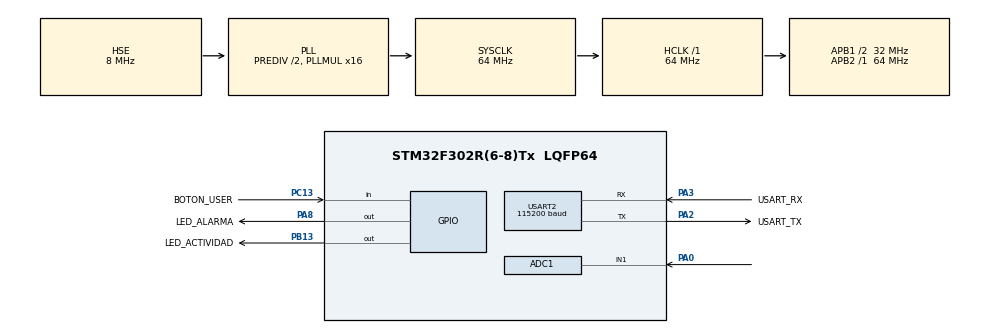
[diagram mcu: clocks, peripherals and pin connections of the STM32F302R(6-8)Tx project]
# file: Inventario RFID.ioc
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ADC1.Channel-1\#ChannelRegularConversion=ADC_CHANNEL_1
ADC1.EnableInjectedConversion=DISABLE
ADC1.NbrOfConversionFlag=1
ADC1.Offset-1\#ChannelRegularConversion=0
ADC1.OffsetNumber-1\#ChannelRegularConversion=ADC_OFFSET_NONE
ADC1.Rank-1\#ChannelRegularConversion=1
ADC1.SamplingTime-1\#ChannelRegularConversion=ADC_SAMPLETIME_61CYCLES_5
ADC1.SamplingTimeOPAMP-1\#ChannelRegularConversion=ADC_SAMPLETIME_61CYCLES_5
ADC1.master=1
Mcu.Family=STM32F3
Mcu.Name=STM32F302R(6-8)Tx
Mcu.Package=LQFP64
NVIC.PriorityGroup=NVIC_PRIORITYGROUP_0
NVIC.TIM6_DAC_IRQn=true\:0\:0\:false\:false\:true\:true\:true\:true
PA0.Mode=IN1-Single-Ended
PA0.Signal=ADC1_IN1
PA13.GPIO_Label=TMS
PA13.Mode=Serial_Wire
PA13.Signal=SYS_JTMS-SWDIO
PA14.GPIO_Label=TCK
PA14.Mode=Serial_Wire
PA14.Signal=SYS_JTCK-SWCLK
PA2.GPIO_Label=USART_TX
PA2.GPIO_Mode=GPIO_MODE_AF_PP
PA2.GPIO_PuPd=GPIO_NOPULL
PA2.GPIO_Speed=GPIO_SPEED_FREQ_LOW
PA2.Mode=Asynchronous
PA2.Signal=USART2_TX
PA3.GPIO_Label=USART_RX
PA3.GPIO_Mode=GPIO_MODE_AF_PP
PA3.GPIO_PuPd=GPIO_NOPULL
PA3.GPIO_Speed=GPIO_SPEED_FREQ_LOW
PA3.Mode=Asynchronous
PA3.Signal=USART2_RX
PA8.GPIO_Label=LED_ALARMA
PA8.Signal=GPIO_Output
PB13.GPIO_Label=LED_ACTIVIDAD
PB13.Signal=GPIO_Output
PB3.GPIO_Label=SWO
PB3.Mode=Trace_Asynchronous_SW
PB3.Signal=SYS_JTDO-TRACESWO
PB8.Signal=I2C1_SCL
PB9.Signal=I2C1_SDA
PC13.GPIO_Label=BOTON_USER
PC13.Signal=GPIO_Input
PC14\ -\ OSC32_IN.Mode=LSE-External-Oscillator
PC14\ -\ OSC32_IN.Signal=RCC_OSC32_IN
PC15\ -\ OSC32_OUT.Mode=LSE-External-Oscillator
PC15\ -\ OSC32_OUT.Signal=RCC_OSC32_OUT
PF0-OSC_IN.Mode=HSE-External-Clock-Source
PF0-OSC_IN.Signal=RCC_OSC_IN
PF1-OSC_OUT.Signal=RCC_OSC_OUT
ProjectManager.HeapSize=0x200
ProjectManager.StackSize=0x400
ProjectManager.TargetToolchain=STM32CubeIDE
RCC.AHBFreq_Value=64000000
RCC.APB1CLKDivider=RCC_HCLK_DIV2
RCC.APB1Freq_Value=32000000
RCC.APB1TimFreq_Value=64000000
RCC.APB2Freq_Value=64000000
RCC.APB2TimFreq_Value=64000000
RCC.CortexFreq_Value=64000000
RCC.HCLKFreq_Value=64000000
RCC.HSE_VALUE=8000000
RCC.HSI_VALUE=8000000
RCC.PLLM=8
RCC.PLLMUL=RCC_PLL_MUL16
RCC.PLLN=336
RCC.PLLP=RCC_PLLP_DIV4
RCC.PLLQ=7
RCC.RCC_PLLsource_Clock_Source_FROM_HSE=RCC_HSE_PREDIV_DIV2
RCC.SYSCLKFreq_VALUE=64000000
RCC.SYSCLKSourceVirtual=RCC_SYSCLKSOURCE_PLLCLK
RCC.USBFreq_Value=64000000
TIM6.Period=999
TIM6.Prescaler=63
USART2.BaudRate=115200
USART2.VirtualMode-Asynchronous=VM_ASYNC
VP_TIM6_VS_ClockSourceINT.Mode=Enable_Timer
board=NUCLEO-F302R8

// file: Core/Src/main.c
/* USER CODE BEGIN Header */
// Monitor analogico con alarma - Etapa 4: comandos UART
// NUCLEO-F302R8, reloj del sistema a 64 MHz
/* USER CODE END Header */

#include "main.h"
#include <stdio.h>
#include <string.h>

/* Private variables */
ADC_HandleTypeDef hadc1;
TIM_HandleTypeDef htim6;
UART_HandleTypeDef huart2;

/* USER CODE BEGIN PV */
volatile uint32_t tiempo_ms = 0;

uint16_t adc_bruto = 0;
uint8_t porcentaje = 0;
uint8_t muestra_valida = 0;
uint8_t adc_en_curso = 0;

uint8_t modo_run = 1;
uint8_t umbral = 70;
uint8_t alarma = 0;

uint8_t boton_raw = 1;
uint8_t boton_estable = 1;
uint32_t boton_cambio_ms = 0;

#define RX_MAX 32U
#define TX_MAX 112U
#define TX_COLA 8U

char rx_linea[RX_MAX + 1U];
uint8_t rx_len = 0;
uint8_t rx_descartar = 0;
uint8_t rx_cr = 0;

char tx_cola[TX_COLA][TX_MAX];
uint8_t tx_largo[TX_COLA] = {0};
uint8_t tx_entrada = 0;
uint8_t tx_salida = 0;
uint8_t tx_cantidad = 0;
uint8_t tx_pos = 0;
/* USER CODE END PV */

/* Private function prototypes */
void SystemClock_Config(void);
static void MX_GPIO_Init(void);
static void MX_ADC1_Init(void);
static void MX_TIM6_Init(void);
static void MX_USART2_UART_Init(void);
static void ActualizarSalidaAlarma(void);
static void EvaluarHisteresis(void);
static void ReiniciarDecisionAlarma(void);
static void EncolarTexto(const char *texto);
static void EncolarEstado(uint32_t ahora);
static void ProcesarComando(const char *linea);
static void RecibirCaracter(uint8_t caracter);
static void AtenderUART(void);

int main(void)
{
  HAL_Init();
  SystemClock_Config();

  MX_GPIO_Init();
  MX_ADC1_Init();
  MX_TIM6_Init();
  MX_USART2_UART_Init();

  /* USER CODE BEGIN 2 */
  // Los dos indicadores comienzan apagados.
  HAL_GPIO_WritePin(GPIOB, GPIO_PIN_13, GPIO_PIN_RESET);
  HAL_GPIO_WritePin(GPIOA, GPIO_PIN_8, GPIO_PIN_RESET);

  // Calibracion inicial del ADC para mejorar las mediciones.
  if (HAL_ADCEx_Calibration_Start(&hadc1, ADC_SINGLE_ENDED) != HAL_OK)
  {
    Error_Handler();
  }

  if (HAL_TIM_Base_Start_IT(&htim6) != HAL_OK)
  {
    Error_Handler();
  }

  uint32_t ultimo_led = tiempo_ms;
  uint32_t ultimo_adc = tiempo_ms;
  uint32_t ultimo_uart = tiempo_ms;

  boton_raw = (HAL_GPIO_ReadPin(BOTON_USER_GPIO_Port, BOTON_USER_Pin) == GPIO_PIN_SET);
  boton_estable = boton_raw;
  boton_cambio_ms = tiempo_ms;
  /* USER CODE END 2 */

  while (1)
  {
    /* USER CODE BEGIN 3 */
    uint32_t ahora = tiempo_ms;
    AtenderUART();

    // El boton usa polling y exige estabilidad durante 30 ms.
    uint8_t lectura_boton = (HAL_GPIO_ReadPin(BOTON_USER_GPIO_Port,
                                             BOTON_USER_Pin) == GPIO_PIN_SET);
    if (lectura_boton != boton_raw)
    {
      boton_raw = lectura_boton;
      boton_cambio_ms = ahora;
    }
    if (boton_raw != boton_estable && (uint32_t)(ahora - boton_cambio_ms) >= 30U)
    {
      boton_estable = boton_raw;
      if (boton_estable == 0U)
      {
        modo_run = !modo_run;
        ReiniciarDecisionAlarma();
      }
    }

    if ((uint32_t)(ahora - ultimo_led) >= 500U)
    {
      ultimo_led += 500U;
      HAL_GPIO_TogglePin(LED_ACTIVIDAD_GPIO_Port, LED_ACTIVIDAD_Pin);
    }

    if ((uint32_t)(ahora - ultimo_adc) >= 100U)
    {
      ultimo_adc += 100U;
      if (!adc_en_curso && HAL_ADC_Start(&hadc1) == HAL_OK)
      {
        adc_en_curso = 1;
      }
    }

    if (adc_en_curso && __HAL_ADC_GET_FLAG(&hadc1, ADC_FLAG_EOC))
    {
      adc_bruto = (uint16_t)HAL_ADC_GetValue(&hadc1);
      porcentaje = (uint8_t)(((uint32_t)adc_bruto * 100U + 2047U) / 4095U);
      muestra_valida = 1;
      adc_en_curso = 0;
      HAL_ADC_Stop(&hadc1);
      EvaluarHisteresis();
    }

    if ((uint32_t)(ahora - ultimo_uart) >= 1000U)
    {
      ultimo_uart += 1000U;
      EncolarEstado(ahora);
    }

    // El envio trabaja por caracteres sin mezclar lineas.
    if (tx_cantidad > 0U && __HAL_UART_GET_FLAG(&huart2, UART_FLAG_TXE))
    {
      huart2.Instance->TDR = (uint8_t)tx_cola[tx_salida][tx_pos++];
      if (tx_pos >= tx_largo[tx_salida])
      {
        tx_pos = 0U;
        tx_salida = (uint8_t)((tx_salida + 1U) % TX_COLA);
        tx_cantidad--;
      }
    }
    /* USER CODE END 3 */
  }
}

void SystemClock_Config(void)
{
  RCC_OscInitTypeDef RCC_OscInitStruct = {0};
  RCC_ClkInitTypeDef RCC_ClkInitStruct = {0};
  RCC_PeriphCLKInitTypeDef PeriphClkInit = {0};

  // HSE 8 MHz / 2 * 16 = 64 MHz.
  RCC_OscInitStruct.OscillatorType = RCC_OSCILLATORTYPE_HSE;
  RCC_OscInitStruct.HSEState = RCC_HSE_BYPASS;
  RCC_OscInitStruct.HSEPredivValue = RCC_HSE_PREDIV_DIV2;
  RCC_OscInitStruct.PLL.PLLState = RCC_PLL_ON;
  RCC_OscInitStruct.PLL.PLLSource = RCC_PLLSOURCE_HSE;
  RCC_OscInitStruct.PLL.PLLMUL = RCC_PLL_MUL16;

  if (HAL_RCC_OscConfig(&RCC_OscInitStruct) != HAL_OK)
  {
    Error_Handler();
  }

  RCC_ClkInitStruct.ClockType = RCC_CLOCKTYPE_HCLK | RCC_CLOCKTYPE_SYSCLK |
                                RCC_CLOCKTYPE_PCLK1 | RCC_CLOCKTYPE_PCLK2;
  RCC_ClkInitStruct.SYSCLKSource = RCC_SYSCLKSOURCE_PLLCLK;
  RCC_ClkInitStruct.AHBCLKDivider = RCC_SYSCLK_DIV1;
  RCC_ClkInitStruct.APB1CLKDivider = RCC_HCLK_DIV2;
  RCC_ClkInitStruct.APB2CLKDivider = RCC_HCLK_DIV1;

  if (HAL_RCC_ClockConfig(&RCC_ClkInitStruct, FLASH_LATENCY_2) != HAL_OK)
  {
    Error_Handler();
  }

  PeriphClkInit.PeriphClockSelection = RCC_PERIPHCLK_ADC1;
  PeriphClkInit.Adc1ClockSelection = RCC_ADC1PLLCLK_DIV1;

  if (HAL_RCCEx_PeriphCLKConfig(&PeriphClkInit) != HAL_OK)
  {
    Error_Handler();
  }
}

static void MX_ADC1_Init(void)
{
  ADC_ChannelConfTypeDef sConfig = {0};

  hadc1.Instance = ADC1;
  hadc1.Init.ClockPrescaler = ADC_CLOCK_ASYNC_DIV1;
  hadc1.Init.Resolution = ADC_RESOLUTION_12B;
  hadc1.Init.ScanConvMode = ADC_SCAN_DISABLE;
  hadc1.Init.ContinuousConvMode = DISABLE;
  hadc1.Init.DiscontinuousConvMode = DISABLE;
  hadc1.Init.ExternalTrigConvEdge = ADC_EXTERNALTRIGCONVEDGE_NONE;
  hadc1.Init.ExternalTrigConv = ADC_SOFTWARE_START;
  hadc1.Init.DataAlign = ADC_DATAALIGN_RIGHT;
  hadc1.Init.NbrOfConversion = 1;
  hadc1.Init.DMAContinuousRequests = DISABLE;
  hadc1.Init.EOCSelection = ADC_EOC_SINGLE_CONV;
  hadc1.Init.LowPowerAutoWait = DISABLE;
  hadc1.Init.Overrun = ADC_OVR_DATA_OVERWRITTEN;

  if (HAL_ADC_Init(&hadc1) != HAL_OK)
  {
    Error_Handler();
  }

  sConfig.Channel = ADC_CHANNEL_1;
  sConfig.Rank = ADC_REGULAR_RANK_1;
  sConfig.SingleDiff = ADC_SINGLE_ENDED;
  sConfig.SamplingTime = ADC_SAMPLETIME_61CYCLES_5;
  sConfig.OffsetNumber = ADC_OFFSET_NONE;
  sConfig.Offset = 0;

  if (HAL_ADC_ConfigChannel(&hadc1, &sConfig) != HAL_OK)
  {
    Error_Handler();
  }
}

static void MX_TIM6_Init(void)
{
  TIM_MasterConfigTypeDef sMasterConfig = {0};

  // TIM6: 64 MHz / ((63 + 1) * (999 + 1)) = 1000 Hz.
  htim6.Instance = TIM6;
  htim6.Init.Prescaler = 63;
  htim6.Init.CounterMode = TIM_COUNTERMODE_UP;
  htim6.Init.Period = 999;
  htim6.Init.AutoReloadPreload = TIM_AUTORELOAD_PRELOAD_DISABLE;

  if (HAL_TIM_Base_Init(&htim6) != HAL_OK)
  {
    Error_Handler();
  }

  sMasterConfig.MasterOutputTrigger = TIM_TRGO_RESET;
  sMasterConfig.MasterSlaveMode = TIM_MASTERSLAVEMODE_DISABLE;

  if (HAL_TIMEx_MasterConfigSynchronization(&htim6, &sMasterConfig) != HAL_OK)
  {
    Error_Handler();
  }
}

static void MX_USART2_UART_Init(void)
{
  huart2.Instance = USART2;
  huart2.Init.BaudRate = 115200;
  huart2.Init.WordLength = UART_WORDLENGTH_8B;
  huart2.Init.StopBits = UART_STOPBITS_1;
  huart2.Init.Parity = UART_PARITY_NONE;
  huart2.Init.Mode = UART_MODE_TX_RX;
  huart2.Init.HwFlowCtl = UART_HWCONTROL_NONE;
  huart2.Init.OverSampling = UART_OVERSAMPLING_16;
  huart2.AdvancedInit.AdvFeatureInit = UART_ADVFEATURE_NO_INIT;

  if (HAL_UART_Init(&huart2) != HAL_OK)
  {
    Error_Handler();
  }
}

static void MX_GPIO_Init(void)
{
  GPIO_InitTypeDef GPIO_InitStruct = {0};

  __HAL_RCC_GPIOA_CLK_ENABLE();
  __HAL_RCC_GPIOB_CLK_ENABLE();
  __HAL_RCC_GPIOC_CLK_ENABLE();

  HAL_GPIO_WritePin(GPIOA, GPIO_PIN_8, GPIO_PIN_RESET);
  HAL_GPIO_WritePin(GPIOB, GPIO_PIN_13, GPIO_PIN_RESET);

  // PA8: LED rojo de alarma.
  GPIO_InitStruct.Pin = GPIO_PIN_8;
  GPIO_InitStruct.Mode = GPIO_MODE_OUTPUT_PP;
  GPIO_InitStruct.Pull = GPIO_NOPULL;
  GPIO_InitStruct.Speed = GPIO_SPEED_FREQ_LOW;
  HAL_GPIO_Init(GPIOA, &GPIO_InitStruct);

  // PB13: LED verde de actividad.
  GPIO_InitStruct.Pin = GPIO_PIN_13;
  HAL_GPIO_Init(GPIOB, &GPIO_InitStruct);

  // PC13: pulsador activo en bajo con pull-up.
  GPIO_InitStruct.Pin = GPIO_PIN_13;
  GPIO_InitStruct.Mode = GPIO_MODE_INPUT;
  GPIO_InitStruct.Pull = GPIO_PULLUP;
  HAL_GPIO_Init(GPIOC, &GPIO_InitStruct);
}

/* USER CODE BEGIN 4 */
static void ActualizarSalidaAlarma(void)
{
  HAL_GPIO_WritePin(LED_ALARMA_GPIO_Port, LED_ALARMA_Pin,
                    alarma ? GPIO_PIN_SET : GPIO_PIN_RESET);
}

static void EvaluarHisteresis(void)
{
  if (!modo_run || !muestra_valida)
  {
    alarma = 0;
  }
  else if (porcentaje >= umbral)
  {
    alarma = 1;
  }
  else if (porcentaje < (uint8_t)(umbral - 5U))
  {
    alarma = 0;
  }
  ActualizarSalidaAlarma();
}

static void ReiniciarDecisionAlarma(void)
{
  // Al reanudar no se conserva el estado previo de la histeresis.
  alarma = (modo_run && muestra_valida && porcentaje >= umbral) ? 1U : 0U;
  ActualizarSalidaAlarma();
}

// La cola garantiza que cada respuesta tenga su propio CRLF.
static void EncolarTexto(const char *texto)
{
  size_t n = strlen(texto);
  if (n == 0U || n >= TX_MAX || tx_cantidad >= TX_COLA)
  {
    return;
  }

  memcpy(tx_cola[tx_entrada], texto, n);
  tx_largo[tx_entrada] = (uint8_t)n;
  tx_entrada = (uint8_t)((tx_entrada + 1U) % TX_COLA);
  tx_cantidad++;
}

static void EncolarEstado(uint32_t ahora)
{
  char linea[TX_MAX];
  int n = snprintf(linea, sizeof(linea),
                   "t=%lu;ADC=%u;PCT=%u;THR=%u;MODE=%s;ALARM=%u\r\n",
                   (unsigned long)ahora,
                   (unsigned int)adc_bruto,
                   (unsigned int)porcentaje,
                   (unsigned int)umbral,
                   modo_run ? "RUN" : "PAUSE",
                   (unsigned int)alarma);
  if (n > 0 && n < (int)sizeof(linea))
  {
    EncolarTexto(linea);
  }
}

static void ProcesarComando(const char *linea)
{
  if (strcmp(linea, "STATUS") == 0)
  {
    EncolarEstado(tiempo_ms);
  }
  else if (strcmp(linea, "START") == 0)
  {
    if (!modo_run)
    {
      modo_run = 1U;
      ReiniciarDecisionAlarma();
    }
    EncolarTexto("OK RUN\r\n");
  }
  else if (strcmp(linea, "STOP") == 0)
  {
    modo_run = 0U;
    alarma = 0U;
    ActualizarSalidaAlarma();
    EncolarTexto("OK PAUSE\r\n");
  }
  else if (strncmp(linea, "THR ", 4U) == 0)
  {
    const char *p = linea + 4;
    uint32_t valor = 0U;
    if (*p == '\0')
    {
      EncolarTexto("ERR\r\n");
      return;
    }
    while (*p != '\0')
    {
      if (*p < '0' || *p > '9')
      {
        EncolarTexto("ERR\r\n");
        return;
      }
      valor = valor * 10U + (uint32_t)(*p - '0');
      if (valor > 95U)
      {
        EncolarTexto("ERR\r\n");
        return;
      }
      p++;
    }
    if (valor < 10U)
    {
      EncolarTexto("ERR\r\n");
      return;
    }
    umbral = (uint8_t)valor;
    if (modo_run)
    {
      ReiniciarDecisionAlarma();
    }
    else
    {
      alarma = 0U;
      ActualizarSalidaAlarma();
    }
    char respuesta[24];
    (void)snprintf(respuesta, sizeof(respuesta), "OK THR=%u\r\n", (unsigned int)umbral);
    EncolarTexto(respuesta);
  }
  else
  {
    EncolarTexto("ERR\r\n");
  }
}

static void RecibirCaracter(uint8_t caracter)
{
  if (caracter == '\n')
  {
    if (rx_descartar)
    {
      EncolarTexto("ERR\r\n");
    }
    else if (rx_len != 0U)
    {
      rx_linea[rx_len] = '\0';
      ProcesarComando(rx_linea);
    }
    rx_len = 0U;
    rx_cr = 0U;
    rx_descartar = 0U;
    return;
  }

  if (rx_descartar)
  {
    return;
  }

  // CR solo es valido como parte final de CRLF.
  if (rx_cr)
  {
    rx_descartar = 1U;
    return;
  }
  if (caracter == '\r')
  {
    rx_cr = 1U;
    return;
  }
  if (caracter < 32U || caracter > 126U || rx_len >= RX_MAX)
  {
    rx_descartar = 1U;
    return;
  }
  rx_linea[rx_len++] = (char)caracter;
}

static void AtenderUART(void)
{
  // Si se perdio un dato, descarta esa linea y recupera en LF.
  if (__HAL_UART_GET_FLAG(&huart2, UART_FLAG_ORE))
  {
    __HAL_UART_CLEAR_OREFLAG(&huart2);
    rx_descartar = 1U;
  }
  if (__HAL_UART_GET_FLAG(&huart2, UART_FLAG_RXNE))
  {
    RecibirCaracter((uint8_t)huart2.Instance->RDR);
  }
}

void HAL_TIM_PeriodElapsedCallback(TIM_HandleTypeDef *htim)
{
  if (htim->Instance == TIM6)
  {
    tiempo_ms++;
  }
}
/* USER CODE END 4 */

void Error_Handler(void)
{
  __disable_irq();
  while (1)
  {
  }
}
